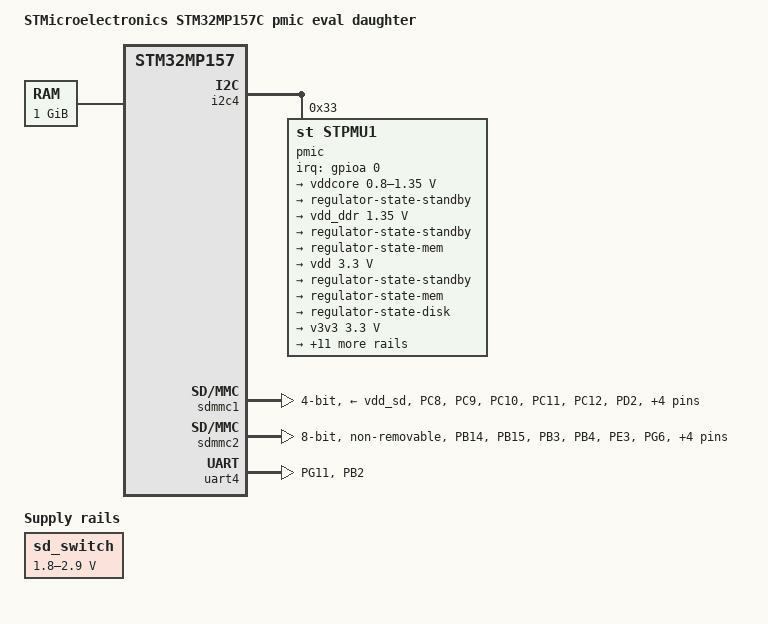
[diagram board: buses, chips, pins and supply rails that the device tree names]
/* SPDX-License-Identifier: (GPL-2.0+ OR BSD-3-Clause) */
/*
 * Copyright (C) STMicroelectronics 2017 - All Rights Reserved
 * Author: Ludovic Barre <ludovic.barre@st.com> for STMicroelectronics.
 */

/dts-v1/;

#include "stm32mp157.dtsi"
#include <dt-bindings/gpio/gpio.h>
#include <dt-bindings/input/input.h>
#include <dt-bindings/pinctrl/stm32-pinfunc.h>
#include <dt-bindings/mfd/st,stpmu1.h>

/ {
	model = "STMicroelectronics STM32MP157C pmic eval daughter";
	compatible = "st,stm32mp157c-ed1", "st,stm32mp157";

	chosen {
		bootargs = "earlyprintk console=ttyS3,115200 root=/dev/ram";
		stdout-path = "serial3:115200n8";
	};

	memory {
		reg = <0xC0000000 0x40000000>;
	};

	sd_switch: regulator-sd_switch {
		compatible = "regulator-gpio";
		regulator-name = "sd_switch";
		regulator-min-microvolt = <1800000>;
		regulator-max-microvolt = <2900000>;
		regulator-type = "voltage";
		regulator-always-on;

		gpios = <&gpiof 14 GPIO_ACTIVE_HIGH>;
		gpios-states = <0>;
		states = <1800000 0x1 2900000 0x0>;
	};
};

&gpioa {
	status = "okay";
};

&gpiob {
	status = "okay";
};

&gpioc {
	status = "okay";
};

&gpiod {
	status = "okay";
};

&gpioe {
	status = "okay";
};

&gpiof {
	status = "okay";
};

&gpiog {
	status = "okay";
};

&gpioh {
	status = "okay";
};

&gpioi {
	status = "okay";
};

&gpioj {
	status = "okay";
};

&gpiok {
	status = "okay";
};

&gpioz {
	status = "okay";
};

&pinctrl {
	uart4_pins_a: uart4@0 {
		pins1 {
			pinmux = <STM32_PINMUX('G', 11, AF6)>; /* UART4_TX */
			bias-disable;
			drive-push-pull;
			slew-rate = <0>;
		};
		pins2 {
			pinmux = <STM32_PINMUX('B', 2, AF8)>; /* UART4_RX */
			bias-disable;
		};
	};

	sdmmc1_b4_pins_a: sdmmc1-b4@0 {
		pins {
			pinmux = <STM32_PINMUX('C', 8, AF12)>, /* SDMMC1_D0 */
				 <STM32_PINMUX('C', 9, AF12)>, /* SDMMC1_D1 */
				 <STM32_PINMUX('C', 10, AF12)>, /* SDMMC1_D2 */
				 <STM32_PINMUX('C', 11, AF12)>, /* SDMMC1_D3 */
				 <STM32_PINMUX('C', 12, AF12)>, /* SDMMC1_CK */
				 <STM32_PINMUX('D', 2, AF12)>; /* SDMMC1_CMD */
			slew-rate = <3>;
			drive-push-pull;
			bias-disable;
		};
	};

	sdmmc1_dir_pins_a: sdmmc1-dir@0 {
		pins {
			pinmux = <STM32_PINMUX('F', 2, AF11)>, /* SDMMC1_D0DIR */
				 <STM32_PINMUX('C', 7, AF8)>, /* SDMMC1_D123DIR */
				 <STM32_PINMUX('B', 9, AF11)>, /* SDMMC1_CDIR */
				 <STM32_PINMUX('E', 4, AF8)>; /* SDMMC1_CKIN */
			slew-rate = <3>;
			drive-push-pull;
			bias-pull-up;
		};
	};
	sdmmc2_b4_pins_a: sdmmc2-b4@0 {
		pins {
			pinmux = <STM32_PINMUX('B', 14, AF9)>, /* SDMMC2_D0 */
				 <STM32_PINMUX('B', 15, AF9)>, /* SDMMC2_D1 */
				 <STM32_PINMUX('B', 3, AF9)>, /* SDMMC2_D2 */
				 <STM32_PINMUX('B', 4, AF9)>, /* SDMMC2_D3 */
				 <STM32_PINMUX('E', 3, AF9)>, /* SDMMC2_CK */
				 <STM32_PINMUX('G', 6, AF10)>; /* SDMMC2_CMD */
			slew-rate = <3>;
			drive-push-pull;
			bias-pull-up;
		};
	};

	sdmmc2_d47_pins_a: sdmmc2-d47@0 {
		pins {
			pinmux = <STM32_PINMUX('A', 8, AF9)>, /* SDMMC2_D4 */
				 <STM32_PINMUX('A', 9, AF10)>, /* SDMMC2_D5 */
				 <STM32_PINMUX('E', 5, AF9)>, /* SDMMC2_D6 */
				 <STM32_PINMUX('D', 3, AF9)>; /* SDMMC2_D7 */
			slew-rate = <3>;
			drive-push-pull;
			bias-pull-up;
		};
	};
};

&pinctrl_z {
	i2c4_pins_a: i2c4@0 {
		pins {
			pinmux = <STM32_PINMUX('Z', 4, AF6)>, /* I2C4_SCL */
				 <STM32_PINMUX('Z', 5, AF6)>; /* I2C4_SDA */
			bias-disable;
			drive-open-drain;
			slew-rate = <0>;
		};
	};
};

&i2c4 {
	pinctrl-names = "default";
	pinctrl-0 = <&i2c4_pins_a>;
	i2c-scl-rising-time-ns = <185>;
	i2c-scl-falling-time-ns = <20>;
	status = "okay";

	pmic: stpmu1@33 {
		compatible = "st,stpmu1";
		reg = <0x33>;
		interrupts = <0 2>;
		interrupt-parent = <&gpioa>;
		interrupt-controller;
		#interrupt-cells = <2>;
		status = "okay";

		st,main_control_register = <0x04>;
		st,vin_control_register = <0xc0>;
		st,usb_control_register = <0x30>;

		regulators {
			compatible = "st,stpmu1-regulators";

			ldo1-supply = <&v3v3>;
			ldo2-supply = <&v3v3>;
			ldo3-supply = <&vdd_ddr>;
			ldo5-supply = <&v3v3>;
			ldo6-supply = <&v3v3>;
			pwr_sw1-supply = <&bst_out>;
			pwr_sw2-supply = <&bst_out>;

			vddcore: buck1 {
				regulator-name = "vddcore";
				regulator-min-microvolt = <800000>;
				regulator-max-microvolt = <1350000>;
				regulator-always-on;
				regulator-initial-mode = <2>;
				regulator-over-current-protection;

				regulator-state-standby {
					regulator-on-in-suspend;
					regulator-suspend-microvolt = <1200000>;
					regulator-mode = <8>;
				};
				regulator-state-mem {
					regulator-off-in-suspend;
				};
				regulator-state-disk {
					regulator-off-in-suspend;
				};
			};

			vdd_ddr: buck2 {
				regulator-name = "vdd_ddr";
				regulator-min-microvolt = <1350000>;
				regulator-max-microvolt = <1350000>;
				regulator-always-on;
				regulator-initial-mode = <2>;
				regulator-over-current-protection;

				regulator-state-standby {
					regulator-suspend-microvolt = <1350000>;
					regulator-on-in-suspend;
					regulator-mode = <8>;
				};
				regulator-state-mem {
					regulator-suspend-microvolt = <1350000>;
					regulator-on-in-suspend;
					regulator-mode = <8>;
				};
				regulator-state-disk {
					regulator-off-in-suspend;
				};
			};

			vdd: buck3 {
				regulator-name = "vdd";
				regulator-min-microvolt = <3300000>;
				regulator-max-microvolt = <3300000>;
				regulator-always-on;
				st,mask_reset;
				regulator-initial-mode = <8>;
				regulator-over-current-protection;

				regulator-state-standby {
					regulator-suspend-microvolt = <3300000>;
					regulator-on-in-suspend;
					regulator-mode = <8>;
				};
				regulator-state-mem {
					regulator-suspend-microvolt = <3300000>;
					regulator-on-in-suspend;
					regulator-mode = <8>;
				};
				regulator-state-disk {
					regulator-suspend-microvolt = <3300000>;
					regulator-on-in-suspend;
					regulator-mode = <8>;
				};
			};

			v3v3: buck4 {
				regulator-name = "v3v3";
				regulator-min-microvolt = <3300000>;
				regulator-max-microvolt = <3300000>;
				regulator-boot-on;
				regulator-over-current-protection;
				regulator-initial-mode = <8>;

				regulator-state-standby {
					regulator-suspend-microvolt = <3300000>;
					regulator-unchanged-in-suspend;
					regulator-mode = <8>;
				};
				regulator-state-mem {
					regulator-off-in-suspend;
				};
				regulator-state-disk {
					regulator-off-in-suspend;
				};
			};

			vdda: ldo1 {
				regulator-name = "vdda";
				regulator-min-microvolt = <2900000>;
				regulator-max-microvolt = <2900000>;
				interrupts = <IT_CURLIM_LDO1 0>;
				interrupt-parent = <&pmic>;

				regulator-state-standby {
					regulator-suspend-microvolt = <2900000>;
					regulator-unchanged-in-suspend;
				};
				regulator-state-mem {
					regulator-off-in-suspend;
				};
				regulator-state-disk {
					regulator-off-in-suspend;
				};
			};

			v2v8: ldo2 {
				regulator-name = "v2v8";
				regulator-min-microvolt = <2800000>;
				regulator-max-microvolt = <2800000>;
				interrupts = <IT_CURLIM_LDO2 0>;
				interrupt-parent = <&pmic>;

				regulator-state-standby {
					regulator-suspend-microvolt = <2800000>;
					regulator-unchanged-in-suspend;
				};
				regulator-state-mem {
					regulator-off-in-suspend;
				};
				regulator-state-disk {
					regulator-off-in-suspend;
				};
			};

			vtt_ddr: ldo3 {
				regulator-name = "vtt_ddr";
				regulator-min-microvolt = <0000000>;
				regulator-max-microvolt = <1000000>;
				regulator-always-on;
				regulator-over-current-protection;

				regulator-state-standby {
					regulator-off-in-suspend;
				};
				regulator-state-mem {
					regulator-off-in-suspend;
				};
				regulator-state-disk {
					regulator-off-in-suspend;
				};
			};

			vdd_usb: ldo4 {
				regulator-name = "vdd_usb";
				regulator-min-microvolt = <3300000>;
				regulator-max-microvolt = <3300000>;
				interrupts = <IT_CURLIM_LDO4 0>;
				interrupt-parent = <&pmic>;

				regulator-state-standby {
					regulator-unchanged-in-suspend;
				};
				regulator-state-mem {
					regulator-off-in-suspend;
				};
				regulator-state-disk {
					regulator-off-in-suspend;
				};
			};

			vdd_sd: ldo5 {
				regulator-name = "vdd_sd";
				regulator-min-microvolt = <2900000>;
				regulator-max-microvolt = <2900000>;
				interrupts = <IT_CURLIM_LDO5 0>;
				interrupt-parent = <&pmic>;
				regulator-boot-on;

				regulator-state-standby {
					regulator-suspend-microvolt = <2900000>;
					regulator-unchanged-in-suspend;
				};
				regulator-state-mem {
					regulator-off-in-suspend;
				};
				regulator-state-disk {
					regulator-off-in-suspend;
				};
			};

			v1v8: ldo6 {
				regulator-name = "v1v8";
				regulator-min-microvolt = <1800000>;
				regulator-max-microvolt = <1800000>;
				interrupts = <IT_CURLIM_LDO6 0>;
				interrupt-parent = <&pmic>;

				regulator-state-standby {
					regulator-suspend-microvolt = <1800000>;
					regulator-unchanged-in-suspend;
				};
				regulator-state-mem {
					regulator-off-in-suspend;
				};
				regulator-state-disk {
					regulator-off-in-suspend;
				};
			};

			vref_ddr: vref_ddr {
				regulator-name = "vref_ddr";
				regulator-always-on;
				regulator-over-current-protection;

				regulator-state-standby {
					regulator-on-in-suspend;
				};
				regulator-state-mem {
					regulator-on-in-suspend;
				};
				regulator-state-disk {
					regulator-off-in-suspend;
				};
			};

			 bst_out: boost {
				regulator-name = "bst_out";
				interrupts = <IT_OCP_BOOST 0>;
				interrupt-parent = <&pmic>;
			 };

			vbus_otg: pwr_sw1 {
				regulator-name = "vbus_otg";
				interrupts = <IT_OCP_OTG 0>;
				interrupt-parent = <&pmic>;
				regulator-active-discharge;
			 };

			 vbus_sw: pwr_sw2 {
				regulator-name = "vbus_sw";
				interrupts = <IT_OCP_SWOUT 0>;
				interrupt-parent = <&pmic>;
				regulator-active-discharge;
			 };
		};
	};
};

&sdmmc1 {
	pinctrl-names = "default";
	pinctrl-0 = <&sdmmc1_b4_pins_a &sdmmc1_dir_pins_a>;
	broken-cd;
	st,dirpol;
	st,negedge;
	st,pin-ckin;
	bus-width = <4>;
	vmmc-supply = <&vdd_sd>;
	vqmmc-supply = <&sd_switch>;
	sd-uhs-sdr12;
	sd-uhs-sdr25;
	sd-uhs-sdr50;
	sd-uhs-ddr50;
	sd-uhs-sdr104;
	status = "okay";
};

&sdmmc2 {
	pinctrl-names = "default";
	pinctrl-0 = <&sdmmc2_b4_pins_a &sdmmc2_d47_pins_a>;
	non-removable;
	no-sd;
	no-sdio;
	st,dirpol;
	st,negedge;
	bus-width = <8>;
	status = "okay";
};

&uart4 {
	pinctrl-names = "default";
	pinctrl-0 = <&uart4_pins_a>;
	status = "okay";
};
